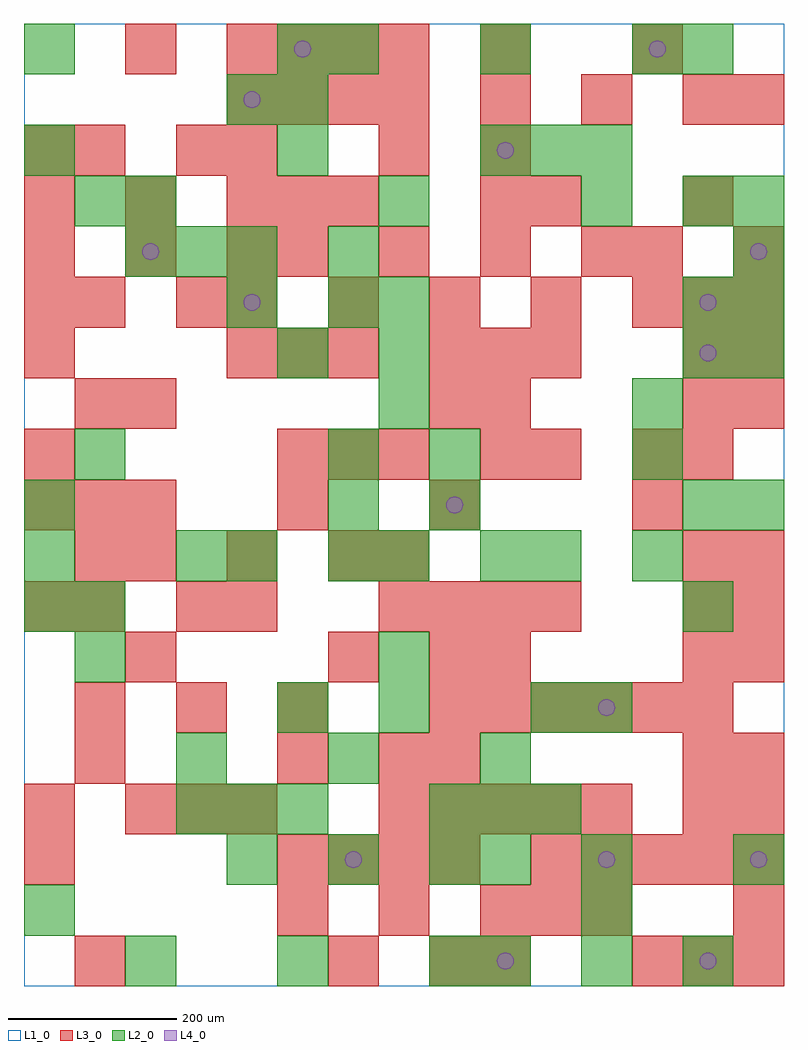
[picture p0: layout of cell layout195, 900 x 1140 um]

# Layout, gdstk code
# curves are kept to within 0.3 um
import gdstk
lib = gdstk.Library(unit=1e-6, precision=1e-09)
def R(c, l, rs):  # rectangles x0, y0, x1, y1
    for r in rs: c.add(gdstk.rectangle(r[:2], r[2:], *l))
def A(c, l, x, y, w, h, nx, ny, dx, dy):  # array of equal rectangles
    R(c, l, [(x+i*dx, y+j*dy, x+i*dx+w, y+j*dy+h) for i in range(nx) for j in range(ny)])
def P(c, l, *ps):  # polygons
    for p in ps: c.add(gdstk.Polygon(p, *l))
L1_0 = (1, 0)
L2_0 = (2, 0)
L3_0 = (3, 0)
L4_0 = (4, 0)

layout195 = lib.new_cell('layout195')
R(layout195, L1_0, [(0,0,900,1140)])
A(layout195, L2_0, 120, 0, 60, 60, 3, 1, 180, 0)
A(layout195, L2_0, 540, 0, 60, 60, 3, 1, 120, 0)
A(layout195, L2_0, 240, 120, 60, 60, 3, 1, 120, 0)
A(layout195, L2_0, 180, 180, 60, 60, 3, 1, 60, 0)
A(layout195, L2_0, 480, 180, 60, 60, 3, 1, 60, 0)
A(layout195, L2_0, 180, 240, 60, 60, 3, 1, 180, 0)
A(layout195, L2_0, 0, 420, 60, 60, 1, 3, 0, 60)
A(layout195, L2_0, 360, 480, 60, 60, 1, 3, 0, 60)
A(layout195, L2_0, 420, 660, 60, 60, 1, 3, 0, 60)
A(layout195, L2_0, 840, 720, 60, 60, 1, 4, 0, 60)
A(layout195, L2_0, 120, 840, 60, 60, 3, 1, 60, 0)
A(layout195, L2_0, 300, 960, 60, 60, 1, 3, 0, 60)
A(layout195, L2_0, 540, 960, 60, 60, 3, 1, 60, 0)
A(layout195, L2_0, 360, 1080, 60, 60, 3, 1, 180, 0)
R(layout195, L2_0, [(0,60,60,120), (660,60,720,120), (540,120,600,180), (660,120,720,180), (840,120,900,180), (300,300,360,360), (420,300,480,360), (600,300,660,360), (660,300,720,360), (60,360,120,420), (420,360,480,420), (60,420,120,480), (780,420,840,480), (180,480,240,540), (240,480,300,540), (420,480,480,540), (540,480,600,540), (600,480,660,540), (720,480,780,540), (480,540,540,600), (780,540,840,600), (840,540,900,600), (60,600,120,660), (480,600,540,660), (720,600,780,660), (720,660,780,720), (300,720,360,780), (780,720,840,780), (240,780,300,840), (360,780,420,840), (780,780,840,840), (360,840,420,900), (60,900,120,960), (120,900,180,960), (420,900,480,960), (660,900,720,960), (780,900,840,960), (0,960,60,1020), (240,1020,300,1080), (0,1080,60,1140), (780,1080,840,1140)])
A(layout195, L3_0, 720, 0, 60, 60, 3, 1, 60, 0)
A(layout195, L3_0, 300, 60, 60, 60, 3, 1, 120, 0)
A(layout195, L3_0, 300, 120, 60, 60, 4, 1, 60, 0)
A(layout195, L3_0, 600, 120, 60, 60, 5, 1, 60, 0)
A(layout195, L3_0, 120, 180, 60, 60, 3, 1, 60, 0)
A(layout195, L3_0, 420, 180, 60, 60, 5, 1, 60, 0)
A(layout195, L3_0, 60, 300, 60, 60, 3, 1, 120, 0)
A(layout195, L3_0, 480, 300, 60, 60, 6, 1, 60, 0)
A(layout195, L3_0, 780, 360, 60, 60, 1, 3, 0, 60)
A(layout195, L3_0, 840, 360, 60, 60, 1, 3, 0, 60)
A(layout195, L3_0, 420, 420, 60, 60, 4, 1, 60, 0)
A(layout195, L3_0, 120, 480, 60, 60, 3, 1, 120, 0)
A(layout195, L3_0, 0, 540, 60, 60, 3, 1, 60, 0)
A(layout195, L3_0, 300, 600, 60, 60, 3, 1, 60, 0)
A(layout195, L3_0, 720, 600, 60, 60, 1, 3, 0, 240)
A(layout195, L3_0, 780, 600, 60, 60, 1, 4, 0, 60)
A(layout195, L3_0, 840, 660, 60, 60, 1, 4, 0, 60)
A(layout195, L3_0, 240, 720, 60, 60, 3, 1, 60, 0)
A(layout195, L3_0, 480, 720, 60, 60, 3, 1, 60, 0)
A(layout195, L3_0, 240, 780, 60, 60, 5, 1, 120, 0)
A(layout195, L3_0, 0, 840, 60, 60, 3, 2, 120, 60)
A(layout195, L3_0, 300, 840, 60, 60, 4, 1, 120, 0)
A(layout195, L3_0, 240, 1020, 60, 60, 4, 2, 60, 60)
A(layout195, L3_0, 540, 1020, 60, 60, 3, 1, 120, 0)
R(layout195, L3_0, [(60,0,120,60), (360,0,420,60), (480,0,540,60), (540,0,600,60), (600,60,660,120), (660,60,720,120), (840,60,900,120), (0,120,60,180), (0,180,60,240), (780,180,840,240), (840,180,900,240), (60,240,120,300), (300,240,360,300), (420,240,480,300), (480,240,540,300), (780,240,840,300), (840,240,900,300), (120,360,180,420), (360,360,420,420), (480,360,540,420), (540,360,600,420), (0,420,60,480), (60,420,120,480), (180,420,240,480), (240,420,300,480), (60,480,120,540), (420,480,480,540), (300,540,360,600), (480,540,540,600), (720,540,780,600), (0,600,60,660), (540,600,600,660), (600,600,660,660), (60,660,120,720), (120,660,180,720), (480,660,540,720), (540,660,600,720), (0,720,60,780), (0,780,60,840), (60,780,120,840), (180,780,240,840), (300,900,360,960), (360,900,420,960), (540,900,600,960), (600,900,660,960), (780,900,840,960), (0,960,60,1020), (60,960,120,1020), (180,960,240,1020), (240,960,300,1020), (420,960,480,1020), (540,960,600,1020), (840,1020,900,1080), (120,1080,180,1140), (540,1080,600,1140)])
P(layout195, L4_0, [(160,870),(159.239,873.827),(157.071,877.071),(153.827,879.239),(150,880),(146.173,879.239),(142.929,877.071),(140.761,873.827),(140,870),(140.761,866.173),(142.929,862.929),(146.173,860.761),(150,860),(153.827,860.761),(157.071,862.929),(159.239,866.173)],
  [(280,810),(279.239,813.827),(277.071,817.071),(273.827,819.239),(270,820),(266.173,819.239),(262.929,817.071),(260.761,813.827),(260,810),(260.761,806.173),(262.929,802.929),(266.173,800.761),(270,800),(273.827,800.761),(277.071,802.929),(279.239,806.173)],
  [(280,1050),(279.239,1053.827),(277.071,1057.071),(273.827,1059.239),(270,1060),(266.173,1059.239),(262.929,1057.071),(260.761,1053.827),(260,1050),(260.761,1046.173),(262.929,1042.929),(266.173,1040.761),(270,1040),(273.827,1040.761),(277.071,1042.929),(279.239,1046.173)],
  [(340,1110),(339.239,1113.827),(337.071,1117.071),(333.827,1119.239),(330,1120),(326.173,1119.239),(322.929,1117.071),(320.761,1113.827),(320,1110),(320.761,1106.173),(322.929,1102.929),(326.173,1100.761),(330,1100),(333.827,1100.761),(337.071,1102.929),(339.239,1106.173)],
  [(400,150),(399.239,153.827),(397.071,157.071),(393.827,159.239),(390,160),(386.173,159.239),(382.929,157.071),(380.761,153.827),(380,150),(380.761,146.173),(382.929,142.929),(386.173,140.761),(390,140),(393.827,140.761),(397.071,142.929),(399.239,146.173)],
  [(520,570),(519.239,573.827),(517.071,577.071),(513.827,579.239),(510,580),(506.173,579.239),(502.929,577.071),(500.761,573.827),(500,570),(500.761,566.173),(502.929,562.929),(506.173,560.761),(510,560),(513.827,560.761),(517.071,562.929),(519.239,566.173)],
  [(580,30),(579.239,33.827),(577.071,37.071),(573.827,39.239),(570,40),(566.173,39.239),(562.929,37.071),(560.761,33.827),(560,30),(560.761,26.173),(562.929,22.929),(566.173,20.761),(570,20),(573.827,20.761),(577.071,22.929),(579.239,26.173)],
  [(580,990),(579.239,993.827),(577.071,997.071),(573.827,999.239),(570,1000),(566.173,999.239),(562.929,997.071),(560.761,993.827),(560,990),(560.761,986.173),(562.929,982.929),(566.173,980.761),(570,980),(573.827,980.761),(577.071,982.929),(579.239,986.173)],
  [(700,150),(699.239,153.827),(697.071,157.071),(693.827,159.239),(690,160),(686.173,159.239),(682.929,157.071),(680.761,153.827),(680,150),(680.761,146.173),(682.929,142.929),(686.173,140.761),(690,140),(693.827,140.761),(697.071,142.929),(699.239,146.173)],
  [(700,330),(699.239,333.827),(697.071,337.071),(693.827,339.239),(690,340),(686.173,339.239),(682.929,337.071),(680.761,333.827),(680,330),(680.761,326.173),(682.929,322.929),(686.173,320.761),(690,320),(693.827,320.761),(697.071,322.929),(699.239,326.173)],
  [(760,1110),(759.239,1113.827),(757.071,1117.071),(753.827,1119.239),(750,1120),(746.173,1119.239),(742.929,1117.071),(740.761,1113.827),(740,1110),(740.761,1106.173),(742.929,1102.929),(746.173,1100.761),(750,1100),(753.827,1100.761),(757.071,1102.929),(759.239,1106.173)],
  [(820,30),(819.239,33.827),(817.071,37.071),(813.827,39.239),(810,40),(806.173,39.239),(802.929,37.071),(800.761,33.827),(800,30),(800.761,26.173),(802.929,22.929),(806.173,20.761),(810,20),(813.827,20.761),(817.071,22.929),(819.239,26.173)],
  [(820,750),(819.239,753.827),(817.071,757.071),(813.827,759.239),(810,760),(806.173,759.239),(802.929,757.071),(800.761,753.827),(800,750),(800.761,746.173),(802.929,742.929),(806.173,740.761),(810,740),(813.827,740.761),(817.071,742.929),(819.239,746.173)],
  [(820,810),(819.239,813.827),(817.071,817.071),(813.827,819.239),(810,820),(806.173,819.239),(802.929,817.071),(800.761,813.827),(800,810),(800.761,806.173),(802.929,802.929),(806.173,800.761),(810,800),(813.827,800.761),(817.071,802.929),(819.239,806.173)],
  [(880,150),(879.239,153.827),(877.071,157.071),(873.827,159.239),(870,160),(866.173,159.239),(862.929,157.071),(860.761,153.827),(860,150),(860.761,146.173),(862.929,142.929),(866.173,140.761),(870,140),(873.827,140.761),(877.071,142.929),(879.239,146.173)],
  [(880,870),(879.239,873.827),(877.071,877.071),(873.827,879.239),(870,880),(866.173,879.239),(862.929,877.071),(860.761,873.827),(860,870),(860.761,866.173),(862.929,862.929),(866.173,860.761),(870,860),(873.827,860.761),(877.071,862.929),(879.239,866.173)])

lib.write_gds('layout195.gds')
